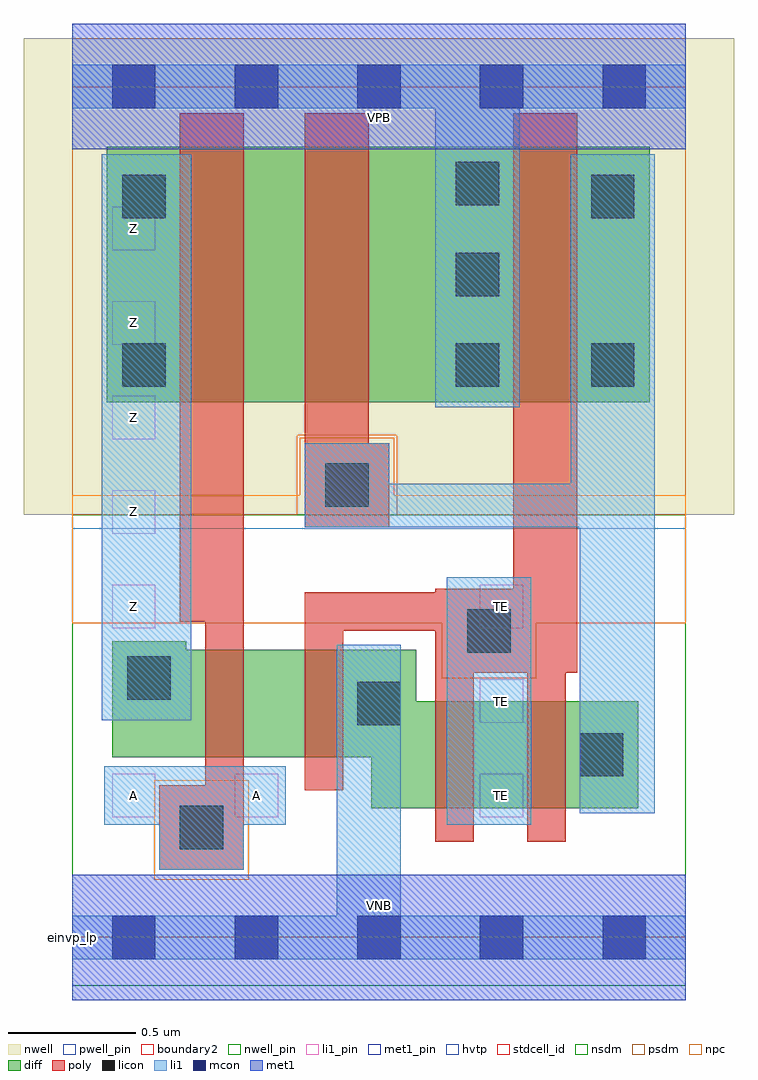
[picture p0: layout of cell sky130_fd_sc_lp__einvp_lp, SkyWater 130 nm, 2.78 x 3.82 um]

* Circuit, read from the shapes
.subckt sky130_fd_sc_lp__einvp_lp A TE VGND VNB VPB VPWR Z
XM1 n1 A Z VNB sky130_fd_pr__nfet_01v8 w=0.42 l=0.15
XM2 VGND TE n1 VNB sky130_fd_pr__nfet_01v8 w=0.42 l=0.15
XM3 n2 TE VGND VNB sky130_fd_pr__nfet_01v8 w=0.42 l=0.15
XM4 n3 TE n2 VNB sky130_fd_pr__nfet_01v8 w=0.42 l=0.15
XM5 n4 A Z VPB sky130_fd_pr__pfet_01v8_hvt w=1 l=0.25
XM6 VPWR n3 n4 VPB sky130_fd_pr__pfet_01v8_hvt w=1 l=0.25
XM7 n3 TE VPWR VPB sky130_fd_pr__pfet_01v8_hvt w=1 l=0.25
.ends

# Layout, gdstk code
import gdstk
lib = gdstk.Library(unit=1e-6, precision=1e-09)
def R(c, l, rs):  # rectangles x0, y0, x1, y1
    for r in rs: c.add(gdstk.rectangle(r[:2], r[2:], *l))
def A(c, l, x, y, w, h, nx, ny, dx, dy):  # array of equal rectangles
    R(c, l, [(x+i*dx, y+j*dy, x+i*dx+w, y+j*dy+h) for i in range(nx) for j in range(ny)])
def P(c, l, *ps):  # polygons
    for p in ps: c.add(gdstk.Polygon(p, *l))
nwell_pin = (64, 16)
nwell = (64, 20)
diff = (65, 20)
poly = (66, 20)
licon = (66, 44)
li1_pin = (67, 16)
li1 = (67, 20)
mcon = (67, 44)
met1_pin = (68, 16)
met1 = (68, 20)
hvtp = (78, 44)
stdcell_id = (81, 4)
nsdm = (93, 44)
psdm = (94, 20)
npc = (95, 20)
pwell_pin = (122, 16)
boundary2 = (236, 0)

sky130_fd_sc_lp__einvp_l = lib.new_cell('sky130_fd_sc_lp__einvp_lp')
R(sky130_fd_sc_lp__einvp_l, nwell_pin, [(0,3.085,2.4,3.33)])
R(sky130_fd_sc_lp__einvp_l, nwell, [(-0.19,1.655,2.59,3.52)])
R(sky130_fd_sc_lp__einvp_l, diff, [(0.135,2.095,2.26,3.095)])
P(sky130_fd_sc_lp__einvp_l, diff, [(2.215,0.925),(1.345,0.925),(1.345,1.125),(0.445,1.125),(0.445,1.16),(0.155,1.16),(0.155,0.705),(1.17,0.705),(1.17,0.505),(2.215,0.505)])
P(sky130_fd_sc_lp__einvp_l, poly, [(0.67,3.225),(0.42,3.225),(0.42,1.235),(0.52,1.235),(0.52,0.595),(0.34,0.595),(0.34,0.265),(0.67,0.265)],
  [(1.24,1.935),(1.16,1.935),(1.16,3.225),(0.91,3.225),(0.91,1.605),(1.24,1.605)],
  [(1.975,3.225),(1.725,3.225),(1.725,1.365),(1.42,1.365),(1.42,1.35),(0.91,1.35),(0.91,0.575),(1.06,0.575),(1.06,1.2),(1.42,1.2),(1.42,0.375),(1.57,0.375),(1.57,1.035),(1.78,1.035),(1.78,0.375),(1.93,0.375),(1.93,1.035),(1.975,1.035)])
A(sky130_fd_sc_lp__einvp_l, licon, 1.5, 2.155, 0.17, 0.17, 1, 3, 0, 0.355)
R(sky130_fd_sc_lp__einvp_l, licon, [(0.42,0.345,0.59,0.515), (1.985,0.63,2.155,0.8), (1.115,0.83,1.285,1), (0.215,0.93,0.385,1.1), (1.545,1.115,1.715,1.285), (0.99,1.685,1.16,1.855), (0.195,2.155,0.365,2.325), (2.03,2.155,2.2,2.325), (0.195,2.815,0.365,2.985), (2.03,2.815,2.2,2.985)])
A(sky130_fd_sc_lp__einvp_l, li1_pin, 1.595, 0.47, 0.17, 0.17, 1, 3, 0, 0.37)
A(sky130_fd_sc_lp__einvp_l, li1_pin, 0.155, 1.21, 0.17, 0.17, 1, 5, 0, 0.37)
R(sky130_fd_sc_lp__einvp_l, li1_pin, [(0.155,0.47,0.325,0.64), (0.635,0.47,0.805,0.64)])
R(sky130_fd_sc_lp__einvp_l, li1, [(1.465,0.44,1.795,1.41), (0.115,0.85,0.465,3.065)])
P(sky130_fd_sc_lp__einvp_l, li1, [(1.42,2.075),(1.42,3.245),(0,3.245),(0,3.415),(2.4,3.415),(2.4,3.245),(1.75,3.245),(1.75,2.075)],
  [(1.035,0.085),(1.035,1.145),(1.285,1.145),(1.285,0.085),(2.4,0.085),(2.4,-0.085),(0,-0.085),(0,0.085)],
  [(1.24,1.775),(1.95,1.775),(1.95,3.065),(2.28,3.065),(2.28,0.485),(1.985,0.485),(1.985,1.605),(0.91,1.605),(0.91,1.935),(1.24,1.935)],
  [(0.34,0.265),(0.34,0.44),(0.125,0.44),(0.125,0.67),(0.835,0.67),(0.835,0.44),(0.67,0.44),(0.67,0.265)])
A(sky130_fd_sc_lp__einvp_l, mcon, 0.155, -0.085, 0.17, 0.17, 5, 2, 0.48, 3.33)
R(sky130_fd_sc_lp__einvp_l, met1_pin, [(0,0,2.4,0.245), (0,3.085,2.4,3.33)])
R(sky130_fd_sc_lp__einvp_l, met1, [(0,-0.245,2.4,0.245), (0,3.085,2.4,3.575)])
R(sky130_fd_sc_lp__einvp_l, hvtp, [(0,1.6,2.4,3.33)])
R(sky130_fd_sc_lp__einvp_l, stdcell_id, [(0,0,2.4,3.33)])
R(sky130_fd_sc_lp__einvp_l, nsdm, [(0,-0.19,2.4,1.655)])
P(sky130_fd_sc_lp__einvp_l, psdm, [(2.4,3.52),(0,3.52),(0,1.655),(0.88,1.655),(0.88,1.965),(1.27,1.965),(1.27,1.655),(2.4,1.655)])
R(sky130_fd_sc_lp__einvp_l, npc, [(0.32,0.225,0.69,0.615)])
P(sky130_fd_sc_lp__einvp_l, npc, [(2.4,1.73),(1.26,1.73),(1.26,1.955),(0.89,1.955),(0.89,1.73),(0,1.73),(0,1.23),(1.445,1.23),(1.445,1.015),(1.815,1.015),(1.815,1.23),(2.4,1.23)])
R(sky130_fd_sc_lp__einvp_l, pwell_pin, [(0,0,2.4,0.245)])
R(sky130_fd_sc_lp__einvp_l, boundary2, [(0,0,2.4,3.33)])
sky130_fd_sc_lp__einvp_l.add(gdstk.Label('VNB', (1.2,0.123), layer=64, texttype=59))
sky130_fd_sc_lp__einvp_l.add(gdstk.Label('VPB', (1.2,3.208), layer=64, texttype=5))
sky130_fd_sc_lp__einvp_l.add(gdstk.Label('einvp_lp', (0,0), layer=83, texttype=44))
sky130_fd_sc_lp__einvp_l.add(gdstk.Label('VPWR', (1.2,3.208), layer=68, texttype=5))
sky130_fd_sc_lp__einvp_l.add(gdstk.Label('VGND', (1.2,0.123), layer=68, texttype=5))
sky130_fd_sc_lp__einvp_l.add(gdstk.Label('TE', (1.68,0.555), layer=67, texttype=5))
sky130_fd_sc_lp__einvp_l.add(gdstk.Label('TE', (1.68,0.925), layer=67, texttype=5))
sky130_fd_sc_lp__einvp_l.add(gdstk.Label('TE', (1.68,1.295), layer=67, texttype=5))
sky130_fd_sc_lp__einvp_l.add(gdstk.Label('A', (0.24,0.555), layer=67, texttype=5))
sky130_fd_sc_lp__einvp_l.add(gdstk.Label('A', (0.72,0.555), layer=67, texttype=5))
sky130_fd_sc_lp__einvp_l.add(gdstk.Label('Z', (0.24,1.295), layer=67, texttype=5))
sky130_fd_sc_lp__einvp_l.add(gdstk.Label('Z', (0.24,1.665), layer=67, texttype=5))
sky130_fd_sc_lp__einvp_l.add(gdstk.Label('Z', (0.24,2.035), layer=67, texttype=5))
sky130_fd_sc_lp__einvp_l.add(gdstk.Label('Z', (0.24,2.405), layer=67, texttype=5))
sky130_fd_sc_lp__einvp_l.add(gdstk.Label('Z', (0.24,2.775), layer=67, texttype=5))

lib.write_gds('sky130_fd_sc_lp__einvp_lp.gds')
